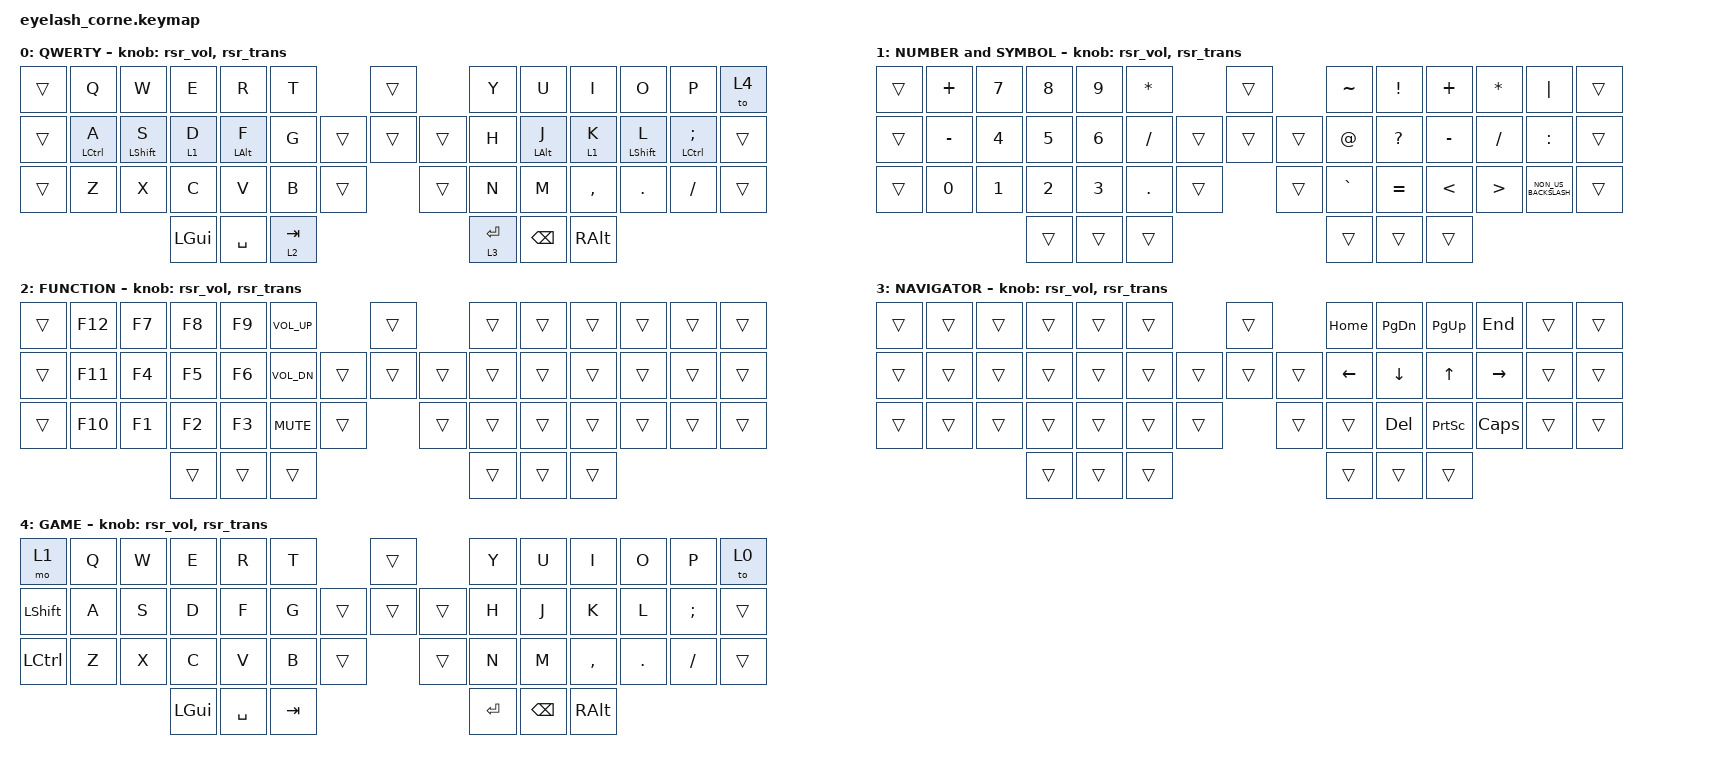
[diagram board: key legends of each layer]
#define ZMK_POINTING_DEFAULT_MOVE_VAL 1200  // 600
#define ZMK_POINTING_DEFAULT_SCRL_VAL 25   // 10

#include <input/processors.dtsi>
#include <zephyr/dt-bindings/input/input-event-codes.h>
#include <behaviors/runtime-sensor-rotate.dtsi>
#include <behaviors.dtsi>
#include <dt-bindings/zmk/keys.h>
#include <dt-bindings/zmk/pointing.h>
#include <dt-bindings/zmk/rgb.h>

&mmv_input_listener { input-processors = <&zip_xy_scaler 2 1>; };

&msc_input_listener { input-processors = <&zip_scroll_scaler 2 1>; };

&msc {
    acceleration-exponent = <1>;      // 0
    time-to-max-speed-ms = <100>;       // 300
    delay-ms = <0>;                   // 0
};

&mmv {
    time-to-max-speed-ms = <500>;
    acceleration-exponent = <1>;
    trigger-period-ms = <16>;
};

&soft_off { hold-time-ms = <2000>; };

/ {
    behaviors {
        td0: td0 {
            compatible = "zmk,behavior-tap-dance";
            display-name = "Shift/Caps Lock Tap Dance";
            #binding-cells = <0>;
            bindings = <&kp LEFT_SHIFT>, <&kp CAPS>;
        };
    };

    rgb_encoder: rgb_encoder {
        compatible = "zmk,behavior-sensor-rotate";
        #sensor-binding-cells = <0>;
        bindings = <&rgb_ug RGB_BRI>, <&rgb_ug RGB_BRD>;
    };

    scroll_encoder: scroll_encoder {
        compatible = "zmk,behavior-sensor-rotate";
        #sensor-binding-cells = <0>;
        bindings = <&msc SCRL_DOWN>, <&msc SCRL_UP>;

        tap-ms = <100>;
    };

    behaviors {
        rsr_vol: rsr_vol {
            compatible = "zmk,behavior-runtime-sensor-rotate";
            #sensor-binding-cells = <0>;
            tap-ms = <5>;
            cw-binding = <&kp C_VOL_UP>;
            ccw-binding = <&kp C_VOL_DN>;
        };

        rsr_trans: rsr_trans {
            compatible = "zmk,behavior-runtime-sensor-rotate";
            #sensor-binding-cells = <0>;
            tap-ms = <0>;
        };

        my_lt: my_lt {
            compatible = "zmk,behavior-hold-tap";
            label = "MY_LT";
            bindings = <&mo>, <&kp>;

            #binding-cells = <2>;
            tapping-term-ms = <1000>;
            require-prior-idle-ms = <125>;
            flavor = "balanced";
        };

        my_mt: my_mt {
            compatible = "zmk,behavior-hold-tap";
            label = "MY_MT";
            bindings = <&kp>, <&kp>;

            #binding-cells = <2>;
            tapping-term-ms = <1000>;
            require-prior-idle-ms = <124>;
            flavor = "balanced";
        };
    };

    combos {
        compatible = "zmk,combos";

        left_bracket {
            bindings = <&kp LEFT_BRACKET>;
            key-positions = <3 4>;
            layers = <1>;
        };

        right_bracket {
            bindings = <&kp RIGHT_BRACKET>;
            key-positions = <4 5>;
            layers = <1>;
        };

        left_brace {
            bindings = <&kp LEFT_BRACE>;
            key-positions = <16 17>;
            layers = <1>;
        };

        right_brace {
            bindings = <&kp RIGHT_BRACE>;
            key-positions = <17 18>;
            layers = <1>;
        };

        left_parenthesis {
            bindings = <&kp LEFT_PARENTHESIS>;
            key-positions = <31 32>;
            layers = <1>;
        };

        right_parenthesis {
            bindings = <&kp RIGHT_PARENTHESIS>;
            key-positions = <32 33>;
            layers = <1>;
        };

        escape {
            bindings = <&kp ESCAPE>;
            key-positions = <1 2>;
        };

        quote {
            bindings = <&kp SINGLE_QUOTE>;
            key-positions = <25 26>;
        };

        caret {
            bindings = <&kp CARET>;
            key-positions = <8 9>;
        };

        underscore {
            bindings = <&kp UNDERSCORE>;
            key-positions = <37 38>;
        };
    };

    keymap {
        compatible = "zmk,keymap";

        default_layer {
            display-name = "QWERTY";
            bindings = <
&trans  &kp Q           &kp W                &kp E       &kp R              &kp T                        &trans          &kp Y           &kp U              &kp I      &kp O                &kp P                   &to 4
&trans  &my_mt LCTRL A  &my_mt LEFT_SHIFT S  &my_lt 1 D  &my_mt LEFT_ALT F  &kp G                &trans  &trans  &trans  &kp H           &my_mt LEFT_ALT J  &lt 1 K    &my_mt LEFT_SHIFT L  &my_mt LCTRL SEMICOLON  &trans
&trans  &kp Z           &kp X                &kp C       &kp V              &kp B      &trans            &trans          &kp N           &kp M              &kp COMMA  &kp DOT              &kp FSLH                &trans
                                             &kp LGUI    &kp SPACE          &lt 2 TAB                                    &my_lt 3 ENTER  &kp BACKSPACE      &kp RALT
            >;

            sensor-bindings = <&rsr_vol &rsr_trans>;
        };

        NuSy {
            display-name = "NUMBER and SYMBOL";
            bindings = <
&trans  &kp PLUS      &kp NUMBER_7  &kp NUMBER_8  &kp NUMBER_9  &kp ASTERISK                    &trans          &kp TILDE    &kp EXCLAMATION  &kp PLUS       &kp ASTERISK      &kp PIPE              &trans
&trans  &kp MINUS     &kp NUMBER_4  &kp NUMBER_5  &kp NUMBER_6  &kp SLASH               &trans  &trans  &trans  &kp AT_SIGN  &kp QUESTION     &kp MINUS      &kp SLASH         &kp COLON             &trans
&trans  &kp NUMBER_0  &kp NUMBER_1  &kp NUMBER_2  &kp NUMBER_3  &kp PERIOD    &trans            &trans          &kp GRAVE    &kp EQUAL        &kp LESS_THAN  &kp GREATER_THAN  &kp NON_US_BACKSLASH  &trans
                                    &trans        &trans        &trans                                          &trans       &trans           &trans
            >;

            sensor-bindings = <&rsr_vol &rsr_trans>;
        };

        Func {
            display-name = "FUNCTION";
            bindings = <
&trans  &kp F12  &kp F7  &kp F8  &kp F9  &kp C_VOL_UP                    &trans          &trans  &trans  &trans  &trans  &trans  &trans
&trans  &kp F11  &kp F4  &kp F5  &kp F6  &kp C_VOL_DN            &trans  &trans  &trans  &trans  &trans  &trans  &trans  &trans  &trans
&trans  &kp F10  &kp F1  &kp F2  &kp F3  &kp K_MUTE    &trans            &trans          &trans  &trans  &trans  &trans  &trans  &trans
                         &trans  &trans  &trans                                          &trans  &trans  &trans
            >;

            sensor-bindings = <&rsr_vol &rsr_trans>;
        };

        Nav {
            display-name = "NAVIGATOR";
            bindings = <
&trans  &trans  &trans  &trans  &trans  &trans                    &trans          &kp HOME        &kp PAGE_DOWN   &kp PAGE_UP      &kp END          &trans  &trans
&trans  &trans  &trans  &trans  &trans  &trans            &trans  &trans  &trans  &kp LEFT_ARROW  &kp DOWN_ARROW  &kp UP_ARROW     &kp RIGHT_ARROW  &trans  &trans
&trans  &trans  &trans  &trans  &trans  &trans  &trans            &trans          &trans          &kp DELETE      &kp PRINTSCREEN  &kp CAPSLOCK     &trans  &trans
                        &trans  &trans  &trans                                    &trans          &trans          &trans
            >;

            sensor-bindings = <&rsr_vol &rsr_trans>;
        };

        Game {
            display-name = "GAME";
            bindings = <
&mo 1           &kp Q  &kp W  &kp E     &kp R      &kp T                      &trans          &kp Y      &kp U          &kp I      &kp O    &kp P     &to 0
&kp LEFT_SHIFT  &kp A  &kp S  &kp D     &kp F      &kp G              &trans  &trans  &trans  &kp H      &kp J          &kp K      &kp L    &kp SEMI  &trans
&kp LCTRL       &kp Z  &kp X  &kp C     &kp V      &kp B    &trans            &trans          &kp N      &kp M          &kp COMMA  &kp DOT  &kp FSLH  &trans
                              &kp LGUI  &kp SPACE  &kp TAB                                    &kp ENTER  &kp BACKSPACE  &kp RALT
            >;

            sensor-bindings = <&rsr_vol>, <&rsr_trans>;
        };
    };
};
